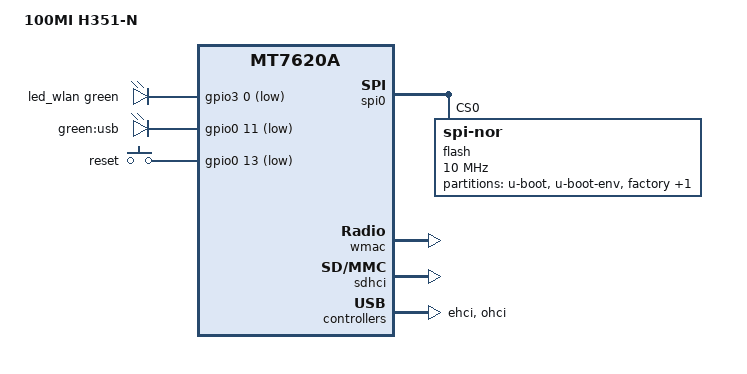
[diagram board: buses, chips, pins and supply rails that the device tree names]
/dts-v1/;

#include "mt7620a.dtsi"

#include <dt-bindings/gpio/gpio.h>
#include <dt-bindings/input/input.h>
#include <dt-bindings/leds/common.h>

/ {
	compatible = "100mi,h351-n", "ralink,mt7620a-soc";
	model = "100MI H351-N";

	aliases {
		led-boot = &led_wlan;
		led-failsafe = &led_wlan;
		led-running = &led_wlan;
		led-upgrade = &led_wlan;
	};

	chosen {
		bootargs = "console=ttyS0,57600";
	};

	leds {
		compatible = "gpio-leds";

		led_wlan: wlan2g {
		//	label = "green:wlan2g";
		//	gpios = <&gpio3 0 GPIO_ACTIVE_LOW>;
			function = LED_FUNCTION_WLAN_2GHZ;
			color = <LED_COLOR_ID_GREEN>;
			gpios = <&gpio3 0 GPIO_ACTIVE_LOW>;
			linux,default-trigger = "phy0tpt";
		};

		usb {
			label = "green:usb";
			gpios = <&gpio0 11 GPIO_ACTIVE_LOW>;
			trigger-sources = <&ohci_port1>, <&ehci_port1>;
			linux,default-trigger = "usbport";
		};
	};

	keys {
		compatible = "gpio-keys";

		reset {
			label = "reset";
			gpios = <&gpio0 13 GPIO_ACTIVE_LOW>;
			linux,code = <KEY_RESTART>;
		};
	};
};

&spi0 {
	status = "okay";

	flash@0 {
		compatible = "jedec,spi-nor";
		reg = <0>;
		spi-max-frequency = <10000000>;
                #address-cells = <1>;
		#size-cells = <1>;

		partitions {
			compatible = "fixed-partitions";
			#address-cells = <1>;
			#size-cells = <1>;

			partition@0 {
				label = "u-boot";
				reg = <0x0 0x30000>;
				read-only;
			};

			partition@30000 {
				label = "u-boot-env";
				reg = <0x30000 0x10000>;
				read-only;
			};

			factory: partition@40000 {
				label = "factory";
				reg = <0x40000 0x10000>;
				read-only;

				nvmem-layout {
					compatible = "fixed-layout";
					#address-cells = <1>;
					#size-cells = <1>;

					eeprom_factory_0: eeprom@0 {
						reg = <0x0 0x200>;
					};

					macaddr_factory_28: macaddr@28 {
						reg = <0x28 0x6>;
					};
				};
			};

			firmware: partition@50000 {
				compatible = "denx,uimage";
				label = "firmware";
				reg = <0x50000 0xfb0000>;
			};
		};
	};
};

&state_default {
	gpio {
		// groups = "i2c", "uartf", "rgmii1", "rgmii2", "ephy", "wled", "nd_sd";
		// groups = "uartf", "wled", "pa";
		groups = "uartf", "wled";
		function = "gpio";
	};
};

&ethernet {
	nvmem-cells = <&macaddr_factory_28>;
	nvmem-cell-names = "mac-address";
	mediatek,portmap = "llllw";
};

&wmac {
       status = "okay";
	// 强制使用 MTD 路径读取 EEPROM，这是最稳的方法
	// mediatek,mtd-eeprom = <&factory 0x0>;
	// 某些 6.6 内核版本需要这个属性
	// ralink,mtd-eeprom = <&factory 0x0>;
	nvmem-cells = <&eeprom_factory_0>;
	nvmem-cell-names = "eeprom";
	pinctrl-names = "default", "pa_gpio";
	pinctrl-0 = <&pa_pins>;
	pinctrl-1 = <&pa_gpio_pins>;
};

 &gpio3 {
	status = "okay";
 };

&sdhci {
	status = "okay";
};

&ehci {
	status = "okay";
};

&ohci {
	status = "okay";
};
//
// &pcie {
//        status = "okay";
// };

